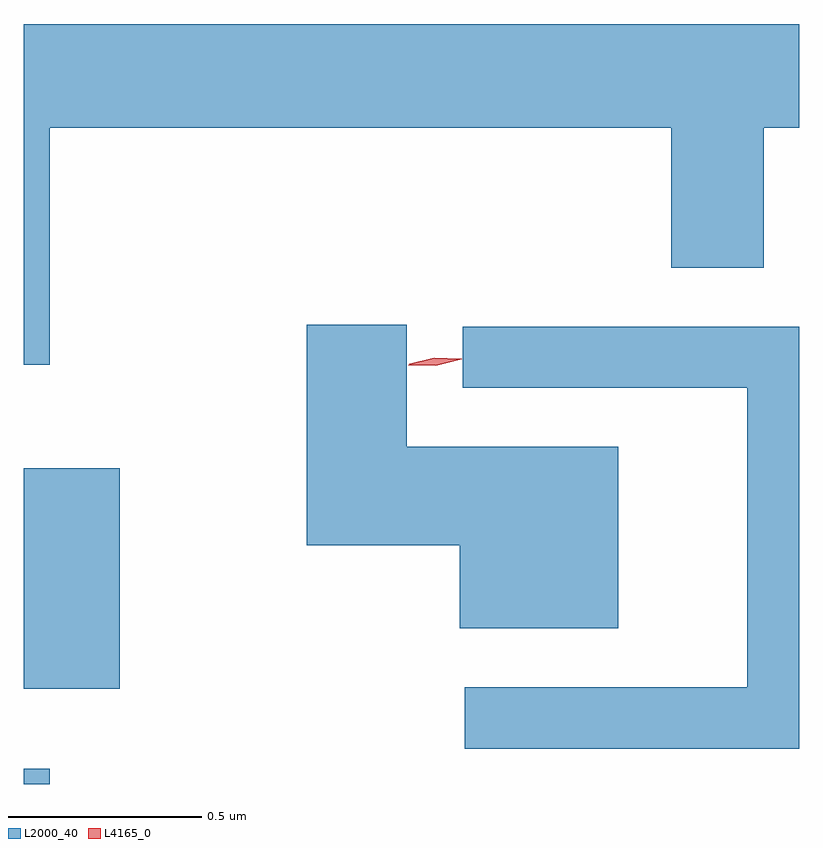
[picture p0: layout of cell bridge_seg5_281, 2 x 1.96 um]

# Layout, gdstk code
import gdstk
lib = gdstk.Library(unit=1e-6, precision=1e-09)
def R(c, l, rs):  # rectangles x0, y0, x1, y1
    for r in rs: c.add(gdstk.rectangle(r[:2], r[2:], *l))
def P(c, l, *ps):  # polygons
    for p in ps: c.add(gdstk.Polygon(p, *l))
L2000_40 = (2000, 40)
L4165_0 = (4165, 0)

bridge_seg5_281 = lib.new_cell('bridge_seg5_281')
R(bridge_seg5_281, L2000_40, [(974.516,1463.985,974.584,1464.024), (974.516,1464.231,974.764,1464.799)])
P(bridge_seg5_281, L2000_40, [(974.584,1465.676),(976.186,1465.676),(976.186,1465.316),(976.424,1465.316),(976.424,1465.676),(976.516,1465.676),(976.516,1465.944),(974.516,1465.944),(974.516,1465.066),(974.584,1465.066)],
  [(976.049,1464.854),(975.504,1464.854),(975.504,1465.169),(975.246,1465.169),(975.246,1464.601),(975.641,1464.601),(975.641,1464.386),(976.049,1464.386)],
  [(976.516,1465.164),(975.648,1465.164),(975.648,1465.006),(976.381,1465.006),(976.381,1464.234),(975.653,1464.234),(975.653,1464.076),(976.516,1464.076)])
P(bridge_seg5_281, L4165_0, [(975.578,1465.063),(975.509,1465.065),(975.508,1465.065),(975.509,1465.066),(975.576,1465.083),(975.645,1465.081),(975.646,1465.08),(975.645,1465.08)],
  [(975.577,1465.064),(975.511,1465.067),(975.51,1465.068),(975.511,1465.068),(975.575,1465.084),(975.642,1465.081),(975.642,1465.08),(975.642,1465.08)])

lib.write_gds('bridge_seg5_281.gds')
